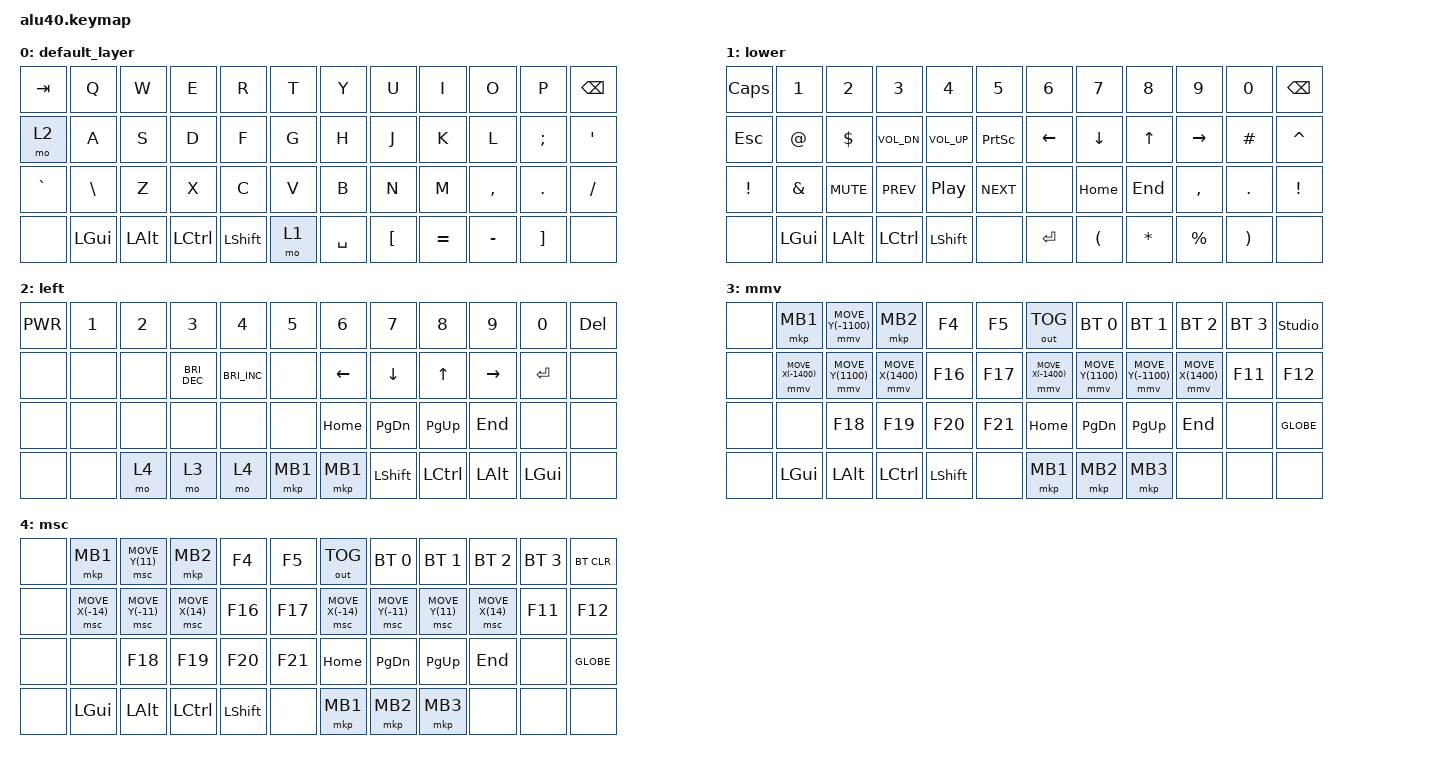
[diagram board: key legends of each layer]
/*
 * Copyright (c) 2022 The ZMK Contributors
 *
 * SPDX-License-Identifier: MIT
 */

#include <behaviors.dtsi>
#include <dt-bindings/zmk/keys.h>
#include <dt-bindings/zmk/bt.h>
#include <dt-bindings/zmk/rgb.h>
#include <dt-bindings/zmk/pointing.h>
#include <dt-bindings/zmk/outputs.h>

&mmv {
    time-to-max-speed-ms=<160>;
    acceleration-exponent=<2>;
};

&msc {
    time-to-max-speed-ms=<1>;
    acceleration-exponent=<2>;
};

/ {
    keymap {
        compatible = "zmk,keymap";

        default_layer {

            bindings = <
&kp TAB    &kp Q    &kp W    &kp E     &kp R     &kp T &kp Y     &kp U    &kp I     &kp O     &kp P    &kp BSPC
&mo 2      &kp A    &kp S    &kp D     &kp F     &kp G &kp H     &kp J    &kp K     &kp L     &kp SEMI &kp SQT
&kp GRAVE  &kp BSLH &kp Z    &kp X     &kp C     &kp V &kp B     &kp N    &kp M     &kp COMMA &kp DOT  &kp SLASH
&none      &kp LGUI &kp LALT &kp LCTRL &kp LSHFT &mo 1 &kp SPACE &kp LBKT &kp EQUAL &kp MINUS &kp RBKT &none
            >;
        };

        lower {
            bindings = <
&kp CAPS &kp N1   &kp N2     &kp N3       &kp N4       &kp N5     &kp N6   &kp N7    &kp N8   &kp N9    &kp N0   &kp BSPC
&kp ESC  &kp AT   &kp DLLR   &kp C_VOL_DN &kp C_VOL_UP &kp PSCRN  &kp LEFT &kp DOWN  &kp UP   &kp RIGHT &kp HASH &kp CARET
&kp EXCL &kp AMPS &kp C_MUTE &kp C_PREV   &kp C_PP     &kp C_NEXT &none    &kp HOME  &kp END  &kp COMMA &kp DOT  &kp EXCL
&none    &kp LGUI &kp LALT   &kp LCTRL    &kp LSHFT    &none      &kp RET  &kp LPAR  &kp STAR &kp PRCNT &kp RPAR &none
            >;
        };

        left {
            bindings = <
&kp C_PWR    &kp N1       &kp N2       &kp N3        &kp N4        &kp N5       &kp N6   &kp N7    &kp N8    &kp N9    &kp N0   &kp DELETE
&none        &none        &none        &kp C_BRI_DEC &kp C_BRI_INC &none        &kp LEFT &kp DOWN  &kp UP    &kp RIGHT &kp RET  &none
&none        &none        &none        &none         &none         &none        &kp HOME &kp PG_DN &kp PG_UP &kp END   &none    &none
&none        &none        &mo 4        &mo 3         &mo 4         &mkp MB1     &mkp MB1 &kp LSHFT &kp LCTRL &kp LALT  &kp LGUI &none
            >;
        };

        mmv {
            bindings = <
&none   &mkp MB1            &mmv MOVE_Y(-1100) &mkp MB2            &kp F4    &kp F5  &out OUT_TOG       &bt BT_SEL 0      &bt BT_SEL 1       &bt BT_SEL 2      &bt BT_SEL 3 &studio_unlock
&none   &mmv MOVE_X(-1400)  &mmv MOVE_Y(1100)  &mmv MOVE_X(1400)   &kp F16   &kp F17 &mmv MOVE_X(-1400) &mmv MOVE_Y(1100) &mmv MOVE_Y(-1100) &mmv MOVE_X(1400) &kp F11      &kp F12
&none   &none               &kp F18            &kp F19             &kp F20   &kp F21 &kp HOME           &kp PG_DN         &kp PG_UP          &kp END           &none        &kp GLOBE
&none   &kp LGUI            &kp LALT           &kp LCTRL           &kp LSHFT &none   &mkp MB1           &mkp MB2          &mkp MB3           &none             &none        &none
            >;
        };

        msc {
            bindings = <
&none   &mkp MB1         &msc MOVE_Y(11)    &mkp MB2          &kp F4    &kp F5  &out OUT_TOG     &bt BT_SEL 0     &bt BT_SEL 1    &bt BT_SEL 2    &bt BT_SEL 3 &bt BT_CLR
&none   &msc MOVE_X(-14) &msc MOVE_Y(-11)   &msc MOVE_X(14)   &kp F16   &kp F17 &msc MOVE_X(-14) &msc MOVE_Y(-11) &msc MOVE_Y(11) &msc MOVE_X(14) &kp F11      &kp F12
&none   &none            &kp F18            &kp F19           &kp F20   &kp F21 &kp HOME         &kp PG_DN        &kp PG_UP       &kp END         &none        &kp GLOBE
&none   &kp LGUI         &kp LALT           &kp LCTRL         &kp LSHFT &none   &mkp MB1         &mkp MB2         &mkp MB3        &none           &none        &none
            >;
        };
    };
};
